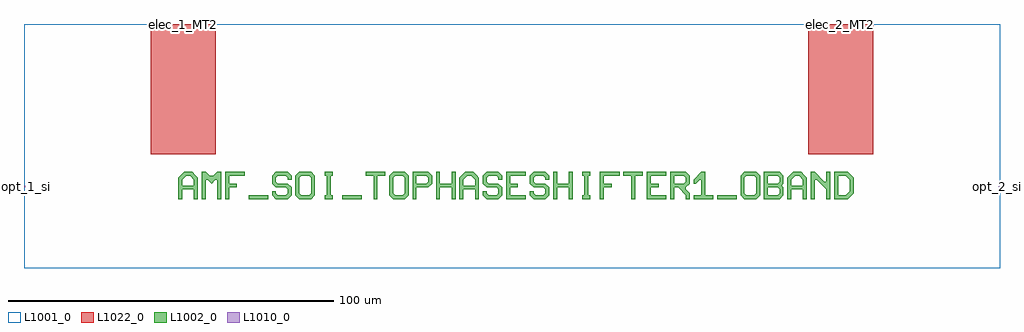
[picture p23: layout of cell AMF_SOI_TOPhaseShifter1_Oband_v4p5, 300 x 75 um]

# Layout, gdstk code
import gdstk
lib = gdstk.Library(unit=1e-6, precision=1e-09)
def R(c, l, rs):  # rectangles x0, y0, x1, y1
    for r in rs: c.add(gdstk.rectangle(r[:2], r[2:], *l))
def P(c, l, *ps):  # polygons
    for p in ps: c.add(gdstk.Polygon(p, *l))
L1001_0 = (1001, 0)
L1002_0 = (1002, 0)
L1010_0 = (1010, 0)
L1022_0 = (1022, 0)

amf_soi_tophaseshifter1_ = lib.new_cell('AMF_SOI_TOPhaseShifter1_Oband_v4p5')
R(amf_soi_tophaseshifter1_, L1001_0, [(0,-25,300,50)])
R(amf_soi_tophaseshifter1_, L1002_0, [(69.044,-3.856,75.044,-2.656), (97.844,-3.856,103.844,-2.656), (213.044,-3.856,219.044,-2.656)])
P(amf_soi_tophaseshifter1_, L1002_0, [(47.444,-3.856),(47.444,2.744),(49.244,4.544),(51.644,4.544),(52.844,3.344),(49.844,3.344),(48.644,2.144),(48.644,0.344),(52.244,0.344),(52.244,2.144),(51.044,3.344),(52.844,3.344),(53.444,2.744),(53.444,-3.856),(52.244,-3.856),(52.244,-0.856),(48.644,-0.856),(48.644,-3.856)],
  [(54.644,-3.856),(54.644,4.544),(55.844,4.544),(57.044,3.344),(58.244,3.344),(59.444,4.544),(60.644,4.544),(60.644,-3.856),(59.444,-3.856),(59.444,2.144),(58.844,2.144),(57.644,0.944),(56.444,2.144),(55.844,2.144),(55.844,-3.856)],
  [(61.844,-3.856),(61.844,4.544),(67.844,4.544),(67.844,3.344),(63.044,3.344),(63.044,0.944),(65.444,0.944),(65.444,-0.256),(63.044,-0.256),(63.044,-3.856)],
  [(77.444,-3.856),(76.244,-2.656),(76.244,-1.456),(77.444,-1.456),(77.444,-2.056),(78.044,-2.656),(80.444,-2.656),(81.044,-2.056),(81.044,-0.856),(80.444,-0.256),(77.444,-0.256),(76.244,0.944),(76.244,3.344),(77.444,4.544),(81.044,4.544),(82.244,3.344),(82.244,2.144),(81.044,2.144),(81.044,2.744),(80.444,3.344),(78.044,3.344),(77.444,2.744),(77.444,1.544),(78.044,0.944),(81.044,0.944),(82.244,-0.256),(82.244,-2.656),(81.044,-3.856)],
  [(84.644,-3.856),(83.444,-2.656),(83.444,3.344),(84.644,4.544),(88.244,4.544),(89.444,3.344),(89.444,0.344),(88.244,0.344),(88.244,2.744),(87.644,3.344),(85.244,3.344),(84.644,2.744),(84.644,-2.056),(85.244,-2.656),(87.644,-2.656),(88.244,-2.056),(88.244,0.344),(89.444,0.344),(89.444,-2.656),(88.244,-3.856)],
  [(92.444,-3.856),(92.444,-2.656),(93.044,-2.656),(93.044,3.344),(92.444,3.344),(92.444,4.544),(94.844,4.544),(94.844,3.344),(94.244,3.344),(94.244,-2.656),(94.844,-2.656),(94.844,-3.856)],
  [(107.444,-3.856),(107.444,3.344),(105.044,3.344),(105.044,4.544),(111.044,4.544),(111.044,3.344),(108.644,3.344),(108.644,-3.856)],
  [(113.444,-3.856),(112.244,-2.656),(112.244,3.344),(113.444,4.544),(117.044,4.544),(118.244,3.344),(118.244,0.344),(117.044,0.344),(117.044,2.744),(116.444,3.344),(114.044,3.344),(113.444,2.744),(113.444,-2.056),(114.044,-2.656),(116.444,-2.656),(117.044,-2.056),(117.044,0.344),(118.244,0.344),(118.244,-2.656),(117.044,-3.856)],
  [(119.444,-3.856),(119.444,4.544),(124.244,4.544),(125.444,3.344),(125.444,0.944),(124.244,-0.256),(120.644,-0.256),(120.644,0.944),(123.644,0.944),(124.244,1.544),(124.244,2.744),(123.644,3.344),(120.644,3.344),(120.644,-3.856)],
  [(126.644,-3.856),(126.644,4.544),(127.844,4.544),(127.844,0.944),(131.444,0.944),(131.444,4.544),(132.644,4.544),(132.644,-3.856),(131.444,-3.856),(131.444,-0.256),(127.844,-0.256),(127.844,-3.856)],
  [(133.844,-3.856),(133.844,2.744),(135.644,4.544),(138.044,4.544),(139.244,3.344),(136.244,3.344),(135.044,2.144),(135.044,0.344),(138.644,0.344),(138.644,2.144),(137.444,3.344),(139.244,3.344),(139.844,2.744),(139.844,-3.856),(138.644,-3.856),(138.644,-0.856),(135.044,-0.856),(135.044,-3.856)],
  [(142.244,-3.856),(141.044,-2.656),(141.044,-1.456),(142.244,-1.456),(142.244,-2.056),(142.844,-2.656),(145.244,-2.656),(145.844,-2.056),(145.844,-0.856),(145.244,-0.256),(142.244,-0.256),(141.044,0.944),(141.044,3.344),(142.244,4.544),(145.844,4.544),(147.044,3.344),(147.044,2.144),(145.844,2.144),(145.844,2.744),(145.244,3.344),(142.844,3.344),(142.244,2.744),(142.244,1.544),(142.844,0.944),(145.844,0.944),(147.044,-0.256),(147.044,-2.656),(145.844,-3.856)],
  [(148.244,-3.856),(148.244,4.544),(154.244,4.544),(154.244,3.344),(149.444,3.344),(149.444,0.944),(151.844,0.944),(151.844,-0.256),(149.444,-0.256),(149.444,-2.656),(154.244,-2.656),(154.244,-3.856)],
  [(156.644,-3.856),(155.444,-2.656),(155.444,-1.456),(156.644,-1.456),(156.644,-2.056),(157.244,-2.656),(159.644,-2.656),(160.244,-2.056),(160.244,-0.856),(159.644,-0.256),(156.644,-0.256),(155.444,0.944),(155.444,3.344),(156.644,4.544),(160.244,4.544),(161.444,3.344),(161.444,2.144),(160.244,2.144),(160.244,2.744),(159.644,3.344),(157.244,3.344),(156.644,2.744),(156.644,1.544),(157.244,0.944),(160.244,0.944),(161.444,-0.256),(161.444,-2.656),(160.244,-3.856)],
  [(162.644,-3.856),(162.644,4.544),(163.844,4.544),(163.844,0.944),(167.444,0.944),(167.444,4.544),(168.644,4.544),(168.644,-3.856),(167.444,-3.856),(167.444,-0.256),(163.844,-0.256),(163.844,-3.856)],
  [(171.644,-3.856),(171.644,-2.656),(172.244,-2.656),(172.244,3.344),(171.644,3.344),(171.644,4.544),(174.044,4.544),(174.044,3.344),(173.444,3.344),(173.444,-2.656),(174.044,-2.656),(174.044,-3.856)],
  [(177.044,-3.856),(177.044,4.544),(183.044,4.544),(183.044,3.344),(178.244,3.344),(178.244,0.944),(180.644,0.944),(180.644,-0.256),(178.244,-0.256),(178.244,-3.856)],
  [(186.644,-3.856),(186.644,3.344),(184.244,3.344),(184.244,4.544),(190.244,4.544),(190.244,3.344),(187.844,3.344),(187.844,-3.856)],
  [(191.444,-3.856),(191.444,4.544),(197.444,4.544),(197.444,3.344),(192.644,3.344),(192.644,0.944),(195.044,0.944),(195.044,-0.256),(192.644,-0.256),(192.644,-2.656),(197.444,-2.656),(197.444,-3.856)],
  [(198.644,-3.856),(198.644,4.544),(203.444,4.544),(204.644,3.344),(199.844,3.344),(199.844,0.944),(202.844,0.944),(203.444,1.544),(203.444,2.744),(202.844,3.344),(204.644,3.344),(204.644,0.944),(203.444,-0.256),(203.444,-0.856),(204.644,-2.056),(204.644,-3.856),(203.444,-3.856),(203.444,-2.656),(201.044,-0.256),(199.844,-0.256),(199.844,-3.856)],
  [(205.844,-3.856),(205.844,-2.656),(208.244,-2.656),(208.244,2.144),(207.644,2.144),(206.444,0.944),(205.844,0.944),(205.844,2.144),(208.244,4.544),(209.444,4.544),(209.444,-2.656),(211.844,-2.656),(211.844,-3.856)],
  [(221.444,-3.856),(220.244,-2.656),(220.244,3.344),(221.444,4.544),(225.044,4.544),(226.244,3.344),(226.244,0.344),(225.044,0.344),(225.044,2.744),(224.444,3.344),(222.044,3.344),(221.444,2.744),(221.444,-2.056),(222.044,-2.656),(224.444,-2.656),(225.044,-2.056),(225.044,0.344),(226.244,0.344),(226.244,-2.656),(225.044,-3.856)],
  [(227.444,-3.856),(227.444,4.544),(232.244,4.544),(233.444,3.344),(228.644,3.344),(228.644,0.944),(231.644,0.944),(232.244,1.544),(232.244,2.744),(231.644,3.344),(233.444,3.344),(233.444,0.944),(232.844,0.344),(233.444,-0.256),(228.644,-0.256),(228.644,-2.656),(231.644,-2.656),(232.244,-2.056),(232.244,-0.856),(231.644,-0.256),(233.444,-0.256),(233.444,-2.656),(232.244,-3.856)],
  [(234.644,-3.856),(234.644,2.744),(236.444,4.544),(238.844,4.544),(240.044,3.344),(237.044,3.344),(235.844,2.144),(235.844,0.344),(239.444,0.344),(239.444,2.144),(238.244,3.344),(240.044,3.344),(240.644,2.744),(240.644,-3.856),(239.444,-3.856),(239.444,-0.856),(235.844,-0.856),(235.844,-3.856)],
  [(241.844,-3.856),(241.844,4.544),(243.044,4.544),(246.044,1.544),(246.644,1.544),(246.644,4.544),(247.844,4.544),(247.844,-3.856),(246.644,-3.856),(246.644,-0.856),(243.644,2.144),(243.044,2.144),(243.044,-3.856)],
  [(249.044,-3.856),(249.044,4.544),(253.244,4.544),(254.444,3.344),(250.244,3.344),(250.244,-2.656),(252.644,-2.656),(253.844,-1.456),(253.844,2.144),(252.644,3.344),(254.444,3.344),(255.044,2.744),(255.044,-2.056),(253.244,-3.856)])
R(amf_soi_tophaseshifter1_, L1010_0, [(0,-0.205,0.41,0.205), (299.59,-0.205,300,0.205)])
R(amf_soi_tophaseshifter1_, L1022_0, [(39,10,59,50), (241,10,261,50)])
amf_soi_tophaseshifter1_.add(gdstk.Label('opt_2_si', (300,0), layer=1010, texttype=0))
amf_soi_tophaseshifter1_.add(gdstk.Label('opt_1_si', (0,0), layer=1010, texttype=0))
amf_soi_tophaseshifter1_.add(gdstk.Label('elec_1_MT2', (49,50), layer=1022, texttype=0))
amf_soi_tophaseshifter1_.add(gdstk.Label('elec_2_MT2', (251,50), layer=1022, texttype=0))

lib.write_gds('AMF_SOI_TOPhaseShifter1_Oband_v4p5.gds')
